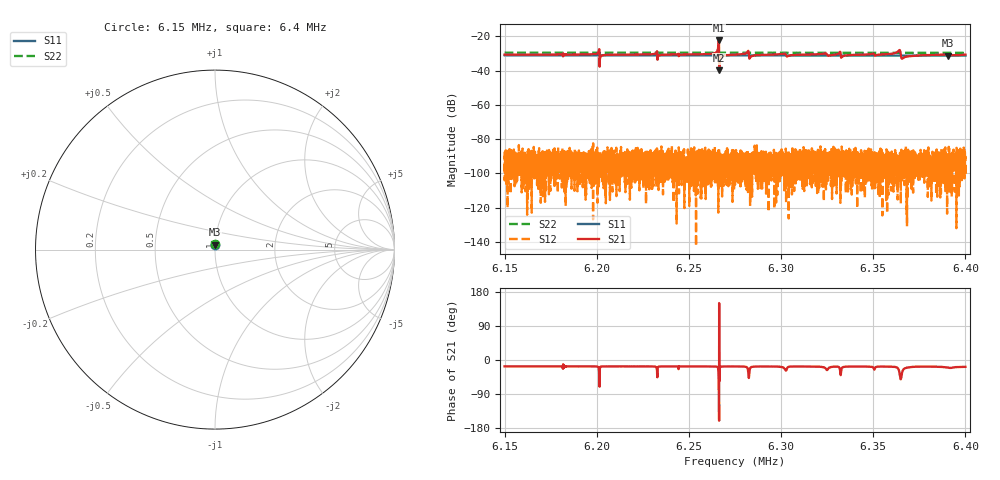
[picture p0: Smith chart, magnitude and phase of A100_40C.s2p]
!CETC41,AV3656A,ZGL00048,1.3.2
!Calibration ON (Full Solt 2-Port(Omit Isolation))
!Measurements: S11 S21 S12 S22
!2025-04-18 22:33
# Hz  S  dB  R 50.000
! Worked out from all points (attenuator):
!   6401 points, 6.15 MHz to 6.4 MHz, reference 50 ohm
!   highest |S21| = -22.36 dB at 6.2662 MHz (marker M1); lowest = -39.8 dB at 6.2664 MHz (marker M2)
!   lowest |S11| = -31.2 dB at 6.3903 MHz (marker M3), VSWR 1.06, Z = 49.9 + j2.74 ohm
!   |S11| at or under -10 dB: start of sweep to end of sweep
!   |S22| runs from -29.6 to -29.5 dB; largest |S21 - S12| = 0.076
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6150000  -31.02 84.5  -30.68 -16.7  -87.43 -13.2  -29.52 90.4
6191680  -31.06 85.5  -30.57 -16.8  -89.51 45.5  -29.52 91.2
6233359  -31.09 86.5  -31.48 -18.1  -91.91 -36.3  -29.53 92.1
6261211  -31.12 87.1  -30.25 -17.0  -94.45 -4.3  -29.54 92.7
6265117  -31.12 87.3  -29.01 -17.7  -94.85 133.9  -29.54 92.8
6266211  -31.12 87.3  -22.36 -68.4  -89.46 26.4  -29.54 92.8
6266445  -31.12 87.3  -39.83 12.1  -90.08 -74.7  -29.55 92.8
6267656  -31.12 87.3  -31.94 -17.4  -88.41 -163.7  -29.54 92.9
6269219  -31.13 87.4  -31.19 -17.1  -88.61 -41.1  -29.55 92.9
6275000  -31.12 87.5  -30.66 -17.1  -91.69 172.9  -29.54 93.0
6281211  -31.13 87.6  -29.68 -18.5  -94.53 -152.9  -29.55 93.1
6283789  -31.14 87.7  -31.70 -18.8  -97.34 169.3  -29.54 93.2
6301016  -31.15 88.1  -30.17 -19.4  -97.29 82.9  -29.56 93.5
6303945  -31.15 88.1  -31.38 -18.2  -91.74 125.6  -29.56 93.5
6316680  -31.17 88.5  -30.57 -17.2  -108.20 55.4  -29.56 93.9
6331055  -31.17 88.8  -30.09 -18.0  -101.73 -72.9  -29.58 94.2
6333633  -31.17 88.9  -31.48 -18.7  -92.70 -76.1  -29.58 94.3
6358359  -31.20 89.4  -30.31 -17.5  -99.24 178.9  -29.58 94.8
6363594  -31.20 89.6  -28.59 -23.2  -91.62 152.1  -29.58 94.8
6366367  -31.21 89.7  -32.52 -25.1  -92.97 -159.9  -29.58 94.9
6390313  -31.24 90.2  -30.65 -19.6  -89.88 -25.8  -29.59 95.4
6400000  -31.22 90.4  -30.67 -18.1  -91.32 70.7  -29.59 95.5
